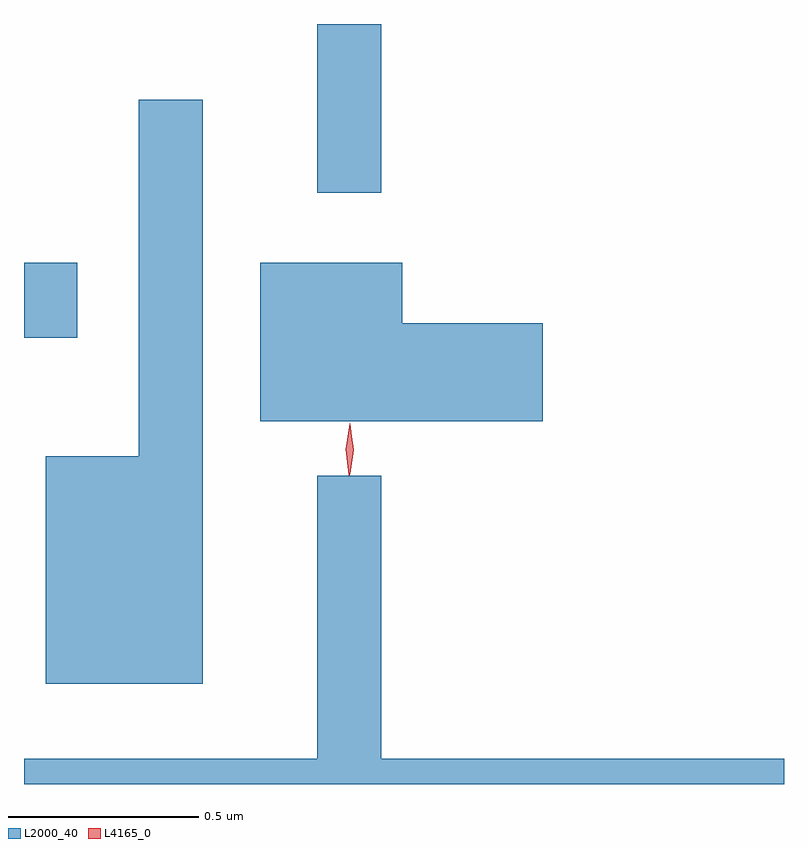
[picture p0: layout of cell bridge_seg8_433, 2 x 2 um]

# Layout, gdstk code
import gdstk
lib = gdstk.Library(unit=1e-6, precision=1e-09)
def R(c, l, rs):  # rectangles x0, y0, x1, y1
    for r in rs: c.add(gdstk.rectangle(r[:2], r[2:], *l))
def P(c, l, *ps):  # polygons
    for p in ps: c.add(gdstk.Polygon(p, *l))
L2000_40 = (2000, 40)
L4165_0 = (4165, 0)

bridge_seg8_433 = lib.new_cell('bridge_seg8_433')
R(bridge_seg8_433, L2000_40, [(922.309,1857.771,922.449,1857.969), (923.081,1858.153,923.249,1858.597)])
P(bridge_seg8_433, L2000_40, [(922.779,1858.398),(922.611,1858.398),(922.611,1857.459),(922.366,1857.459),(922.366,1856.861),(922.779,1856.861)],
  [(923.674,1857.809),(923.304,1857.809),(923.304,1857.969),(922.931,1857.969),(922.931,1857.551),(923.674,1857.551)],
  [(924.309,1856.664),(923.249,1856.664),(923.249,1857.408),(923.081,1857.408),(923.081,1856.664),(922.309,1856.664),(922.309,1856.597),(924.309,1856.597)])
P(bridge_seg8_433, L4165_0, [(923.164,1857.41),(923.156,1857.478),(923.166,1857.545),(923.166,1857.546),(923.167,1857.545),(923.176,1857.478),(923.166,1857.41),(923.165,1857.41)],
  [(923.167,1857.413),(923.166,1857.414),(923.157,1857.476),(923.166,1857.539),(923.167,1857.54),(923.167,1857.539),(923.177,1857.476),(923.167,1857.414)])

lib.write_gds('bridge_seg8_433.gds')
